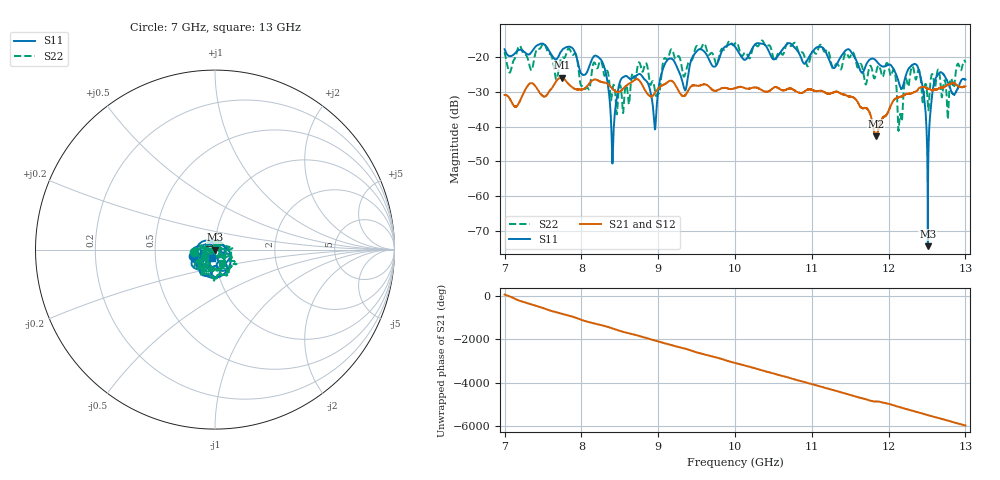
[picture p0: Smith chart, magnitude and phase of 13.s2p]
[Version] 2.0
! Rohde & Schwarz Vector Network Analyzer
! Rohde-Schwarz,ZNL20-2Port,1323001220200009,1.71.1.10-23.02.1.238
! Port Assignments:
! Nominal Port -> Actual Test Port
!  1 -> 1
!  2 -> 2
! Created: GMT+3 2024-09-24 16:06:12
# Hz S DB R 50
[Number of Ports] 2
[Two-Port Data Order] 21_12
! freq[Hz]  S11[mag dB]  S11[ang]  S21[mag dB]  S21[ang]  S12[mag dB]  S12[ang]  S22[mag dB]  S22[ang]
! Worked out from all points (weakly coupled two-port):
!   6001 points, 7 GHz to 13 GHz, reference 50 ohm
!   highest |S21| = -25.94 dB at 7.746 GHz (marker M1); lowest = -42.8 dB at 11.84 GHz (marker M2)
!   lowest |S11| = -74.4 dB at 12.51 GHz (marker M3), VSWR 1.00, Z = 50 - j0.0189 ohm
!   |S11| at or under -10 dB: start of sweep to end of sweep
!   |S22| runs from -41.3 to -15.2 dB; largest |S21 - S12| = 0.0009
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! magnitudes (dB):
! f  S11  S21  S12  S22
! 7 GHz  -17.8  -30.9  -30.9  -18.5
! 7.746 GHz  -18.0  -25.9  -26.0  -20.1
! 8 GHz  -24.8  -29.3  -29.4  -28.3
! 8.268 GHz  -21.3  -27.2  -27.2  -21.8
! 8.408 GHz  -48.3  -29.2  -29.3  -28.8
! 8.54 GHz  -25.9  -29.2  -29.2  -35.9
! 8.753 GHz  -24.9  -26.7  -26.7  -21.5
! 8.951 GHz  -39.5  -30.6  -30.5  -28.8
! 9 GHz  -29.7  -29.1  -29.1  -30.4
! 9.168 GHz  -20.4  -26.8  -26.9  -17.8
! 9.348 GHz  -29.5  -31.1  -31.1  -25.2
! 9.515 GHz  -18.0  -28.3  -28.3  -16.9
! 10 GHz  -17.0  -29.0  -28.9  -16.1
! 11 GHz  -18.8  -29.4  -29.4  -18.7
! 11.84 GHz  -21.0  -42.8  -42.5  -24.7
! 12 GHz  -22.2  -35.5  -35.5  -22.8
! 12.15 GHz  -28.4  -31.5  -31.5  -36.6
! 12.37 GHz  -22.5  -29.6  -29.6  -24.8
! 12.51 GHz  -74.4  -29.1  -29.0  -33.7
! 12.63 GHz  -25.4  -29.3  -29.3  -24.6
! 12.77 GHz  -27.3  -28.0  -28.0  -37.8
! 13 GHz  -26.5  -28.4  -28.5  -21.6
